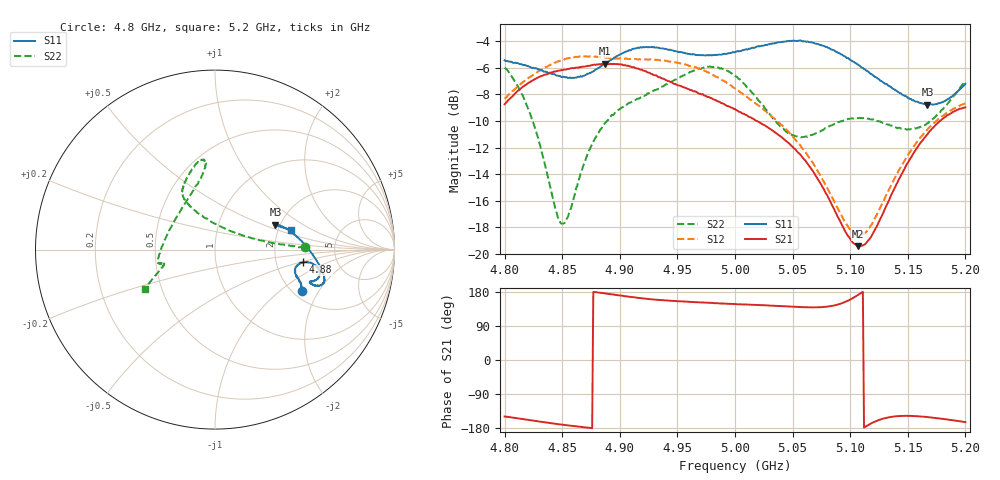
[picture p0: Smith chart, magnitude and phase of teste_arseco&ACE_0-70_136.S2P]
! Network Analyzer HP8722D
! Hewlett-Packard
! Data name: Linha & Wilkinson
! Saver's name: Rodrigo Anjos
! Comments: Teste da utilização de aquisição
! continua pelo VNA HP8722D
! Time and date: 8/5/2025 13:53
!  Frequency  S11  S21  S12  S22
# HZ  S  MA R 50
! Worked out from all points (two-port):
!   401 points, 4.8 GHz to 5.2 GHz, reference 50 ohm
!   highest |S21| = -5.68 dB at 4.887 GHz (marker M1); lowest = -19.4 dB at 5.107 GHz (marker M2)
!   |S21| within 3 dB of the highest: 4.801 GHz to 4.989 GHz (188.7 MHz wide, 3.86 % of centre)
!   lowest |S11| = -8.8 dB at 5.167 GHz (marker M3), VSWR 2.15, Z = 94.5 + j30.1 ohm
!   |S11| at or under -10 dB: nowhere
!   |S22| runs from -17.7 to -5.9 dB; largest |S21 - S12| = 1.1
!   S11 on the Smith chart (normalised r, x): 4.8 GHz: 2.23, -1.43; 4.88 GHz: 2.86, -0.54; 5.2 GHz: 2.34, +0.64
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4.8e9  0.5345 -25.4  0.3655 -149.2  0.3835 10.4  0.5018 1.4
4.813e9  0.5174 -22.4  0.4156 -154.4  0.4326 8.3  0.4155 3.2
4.823e9  0.5032 -20.7  0.4459 -159.0  0.4657 6.9  0.3285 6.3
4.848e9  0.4664 -16.2  0.4892 -169.9  0.532 2.9  0.132 54.6
4.855e9  0.4588 -14.5  0.496 -172.6  0.5441 1.8  0.1379 84.9
4.867e9  0.4637 -11.2  0.5056 -176.6  0.5523 0.3  0.2059 111.8
4.88e9  0.4962 -8.2  0.5165 178.6  0.5512 -1.0  0.2789 120.1
4.887e9  0.5194 -7.6  0.5198 175.8  0.5486 -1.0  0.3101 121.1
4.912e9  0.5913 -11.0  0.5045 165.4  0.5406 -0.6  0.3752 118.9
4.934e9  0.5961 -15.8  0.4619 158.4  0.5366 -1.7  0.4205 112.7
4.976e9  0.5597 -18.8  0.3889 151.3  0.4818 -5.5  0.5055 98.8
5e9  0.5729 -19.6  0.3508 147.5  0.4192 -5.4  0.4682 96.9
5.018e9  0.5987 -19.6  0.3172 145.5  0.3673 -3.0  0.3901 103.5
5.045e9  0.6307 -17.5  0.2646 141.2  0.2923 3.0  0.2871 132.9
5.067e9  0.6242 -13.4  0.2067 138.9  0.222 9.4  0.2801 164.7
5.096e9  0.5513 -3.7  0.1209 153.7  0.1309 34.1  0.3201 -171.4
5.107e9  0.5138 1.3  0.107 172.0  0.1173 54.7  0.3241 -168.0
5.118e9  0.4757 6.7  0.1158 -167.7  0.1281 76.5  0.3207 -166.1
5.134e9  0.4286 14.5  0.1602 -150.9  0.1756 94.6  0.3065 -165.4
5.167e9  0.3642 22.3  0.2816 -150.5  0.2941 102.2  0.3103 -161.3
5.182e9  0.3759 20.4  0.3265 -156.0  0.335 102.3  0.3571 -157.0
5.2e9  0.4363 14.7  0.3558 -163.9  0.3684 102.7  0.4485 -150.7
